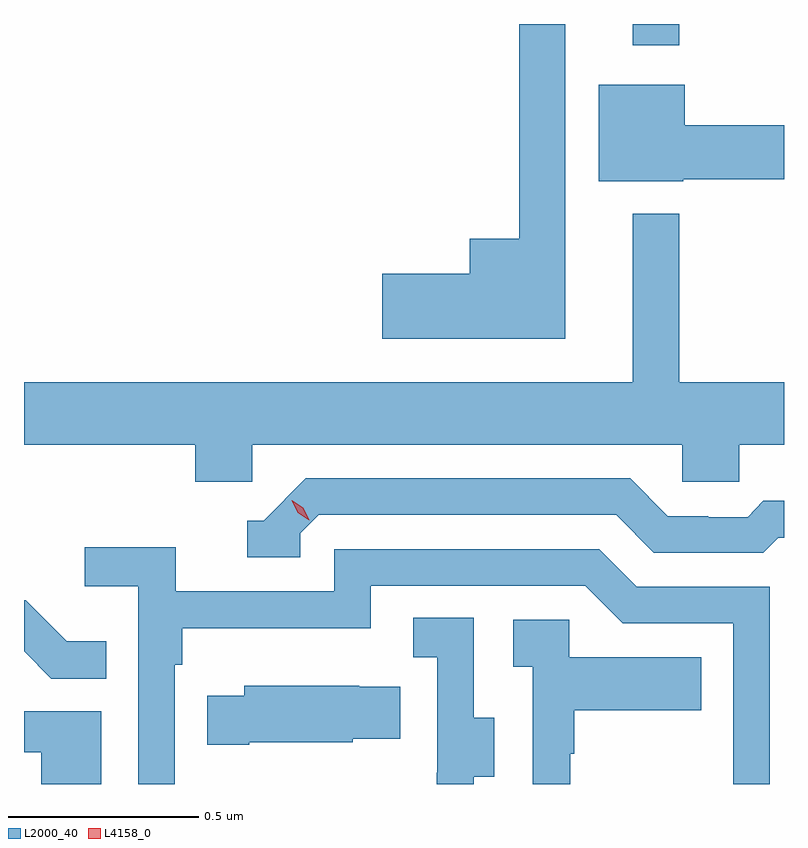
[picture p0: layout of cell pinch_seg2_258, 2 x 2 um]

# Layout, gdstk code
import gdstk
lib = gdstk.Library(unit=1e-6, precision=1e-09)
def R(c, l, rs):  # rectangles x0, y0, x1, y1
    for r in rs: c.add(gdstk.rectangle(r[:2], r[2:], *l))
def P(c, l, *ps):  # polygons
    for p in ps: c.add(gdstk.Polygon(p, *l))
L2000_40 = (2000, 40)
L4158_0 = (4158, 0)

pinch_seg2_258 = lib.new_cell('pinch_seg2_258')
R(pinch_seg2_258, L2000_40, [(946.787,654.015,946.909,654.071)])
P(pinch_seg2_258, L2000_40, [(946.609,654.071),(946.488,654.071),(946.488,653.506),(946.358,653.506),(946.358,653.414),(946.128,653.414),(946.128,653.243),(946.609,653.243)],
  [(946.92,653.663),(947.185,653.663),(947.185,653.805),(946.924,653.805),(946.924,653.911),(946.697,653.911),(946.697,653.657),(946.92,653.657)],
  [(945.786,652.964),(946.917,652.964),(946.917,652.866),(947.067,652.866),(947.067,652.964),(947.185,652.964),(947.185,653.128),(946.909,653.128),(946.909,653.572),(946.787,653.572),(946.787,653.128),(945.185,653.128),(945.185,652.964),(945.635,652.964),(945.635,652.866),(945.786,652.866)],
  [(945.912,652.731),(945.96,652.779),(946.743,652.779),(946.842,652.68),(947.131,652.68),(947.17,652.719),(947.185,652.719),(947.185,652.816),(947.131,652.816),(947.089,652.773),(946.986,652.773),(946.986,652.776),(946.879,652.776),(946.78,652.875),(945.927,652.875),(945.816,652.764),(945.773,652.764),(945.773,652.668),(945.912,652.668)],
  [(945.582,652.385),(945.602,652.385),(945.602,652.481),(946.098,652.481),(946.098,652.593),(946.662,652.593),(946.761,652.494),(947.052,652.494),(947.052,652.071),(947.148,652.071),(947.148,652.59),(946.798,652.59),(946.699,652.689),(946.002,652.689),(946.002,652.578),(945.584,652.578),(945.584,652.694),(945.345,652.694),(945.345,652.592),(945.486,652.592),(945.486,652.071),(945.582,652.071)],
  [(945.401,652.447),(945.297,652.447),(945.19,652.554),(945.185,652.554),(945.185,652.42),(945.257,652.348),(945.401,652.348)],
  [(946.369,652.09),(946.423,652.09),(946.423,652.245),(946.368,652.245),(946.368,652.508),(946.209,652.508),(946.209,652.405),(946.272,652.405),(946.272,652.101),(946.271,652.101),(946.271,652.071),(946.369,652.071)],
  [(946.623,652.151),(946.633,652.151),(946.633,652.265),(946.967,652.265),(946.967,652.405),(946.62,652.405),(946.62,652.503),(946.473,652.503),(946.473,652.379),(946.524,652.379),(946.524,652.071),(946.623,652.071)],
  [(945.778,652.181),(946.05,652.181),(946.05,652.19),(946.175,652.19),(946.175,652.327),(946.067,652.327),(946.067,652.33),(945.765,652.33),(945.765,652.303),(945.667,652.303),(945.667,652.174),(945.778,652.174)],
  [(945.388,652.263),(945.185,652.263),(945.185,652.155),(945.23,652.155),(945.23,652.071),(945.388,652.071)])
P(pinch_seg2_258, L4158_0, [(945.935,652.765),(945.905,652.785),(945.89,652.818),(945.89,652.818),(945.89,652.818),(945.92,652.798),(945.936,652.765),(945.936,652.765)])

lib.write_gds('pinch_seg2_258.gds')
